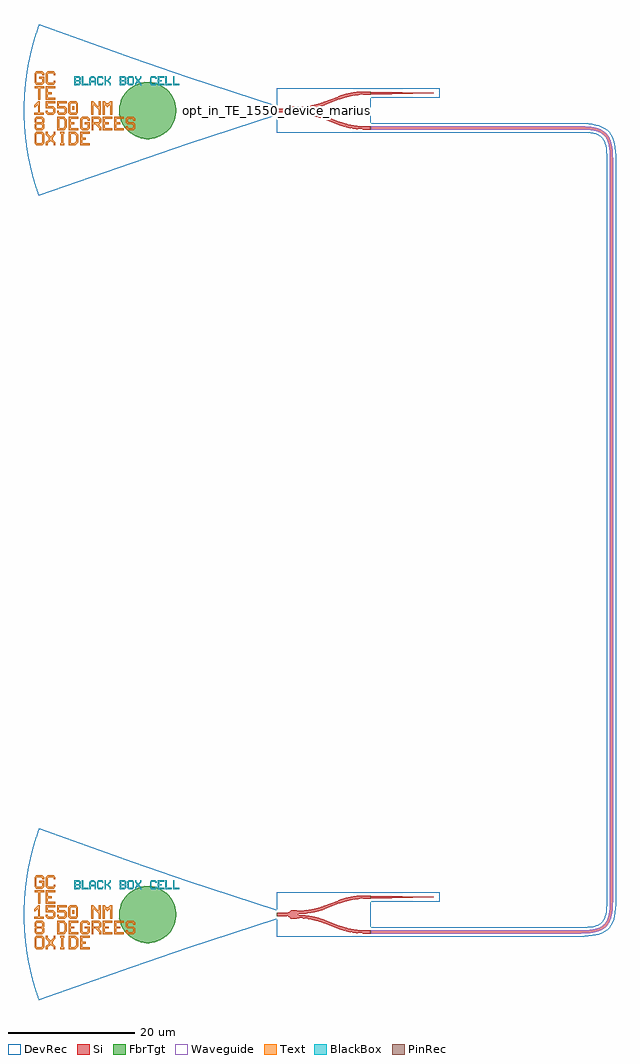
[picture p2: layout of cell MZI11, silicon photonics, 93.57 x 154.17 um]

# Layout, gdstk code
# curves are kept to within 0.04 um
from math import pi, radians
import gdstk
lib = gdstk.Library(unit=1e-6, precision=1e-09)
def R(c, l, rs):  # rectangles x0, y0, x1, y1
    for r in rs: c.add(gdstk.rectangle(r[:2], r[2:], *l))
def P(c, l, *ps):  # polygons
    for p in ps: c.add(gdstk.Polygon(p, *l))
Si = (1, 0)
PinRec = (1, 10)
Waveguide = (1, 99)
Text = (10, 0)
DevRec = (68, 0)
FbrTgt = (81, 0)
BlackBox = (998, 0)

text_1 = lib.new_cell('TEXT$1')
P(text_1, BlackBox, [(0,0),(0,1.4),(0.8,1.4),(1,1.2),(0.2,1.2),(0.2,0.8),(0.7,0.8),(0.8,0.9),(0.8,1.1),(0.7,1.2),(1,1.2),(1,0.8),(0.9,0.7),(1,0.6),(0.2,0.6),(0.2,0.2),(0.7,0.2),(0.8,0.3),(0.8,0.5),(0.7,0.6),(1,0.6),(1,0.2),(0.8,0)],
  [(1.2,0),(1.2,1.4),(1.4,1.4),(1.4,0.2),(2.2,0.2),(2.2,0)],
  [(2.4,0),(2.4,1.1),(2.7,1.4),(3.1,1.4),(3.3,1.2),(2.8,1.2),(2.6,1),(2.6,0.7),(3.2,0.7),(3.2,1),(3,1.2),(3.3,1.2),(3.4,1.1),(3.4,0),(3.2,0),(3.2,0.5),(2.6,0.5),(2.6,0)],
  [(3.8,0),(3.6,0.2),(3.6,1.2),(3.8,1.4),(4.4,1.4),(4.6,1.2),(4.6,1),(4.4,1),(4.4,1.1),(4.3,1.2),(3.9,1.2),(3.8,1.1),(3.8,0.3),(3.9,0.2),(4.3,0.2),(4.4,0.3),(4.4,0.4),(4.6,0.4),(4.6,0.2),(4.4,0)],
  [(4.8,0),(4.8,1.4),(5,1.4),(5,0.8),(5.2,0.8),(5.6,1.2),(5.6,1.4),(5.8,1.4),(5.8,1.1),(5.4,0.7),(5.8,0.3),(5.8,0),(5.6,0),(5.6,0.2),(5.2,0.6),(5,0.6),(5,0)],
  [(7.2,0),(7.2,1.4),(8,1.4),(8.2,1.2),(7.4,1.2),(7.4,0.8),(7.9,0.8),(8,0.9),(8,1.1),(7.9,1.2),(8.2,1.2),(8.2,0.8),(8.1,0.7),(8.2,0.6),(7.4,0.6),(7.4,0.2),(7.9,0.2),(8,0.3),(8,0.5),(7.9,0.6),(8.2,0.6),(8.2,0.2),(8,0)],
  [(8.6,0),(8.4,0.2),(8.4,1.2),(8.6,1.4),(9.2,1.4),(9.4,1.2),(9.4,0.7),(9.2,0.7),(9.2,1.1),(9.1,1.2),(8.7,1.2),(8.6,1.1),(8.6,0.3),(8.7,0.2),(9.1,0.2),(9.2,0.3),(9.2,0.7),(9.4,0.7),(9.4,0.2),(9.2,0)],
  [(9.6,0),(9.6,0.3),(9.9,0.6),(9.9,0.8),(9.6,1.1),(9.6,1.4),(9.8,1.4),(9.8,1.2),(10.1,0.9),(10.4,1.2),(10.4,1.4),(10.6,1.4),(10.6,1.1),(10.3,0.8),(10.3,0.6),(10.6,0.3),(10.6,0),(10.4,0),(10.4,0.2),(10.1,0.5),(9.8,0.2),(9.8,0)],
  [(12.2,0),(12,0.2),(12,1.2),(12.2,1.4),(12.8,1.4),(13,1.2),(13,1),(12.8,1),(12.8,1.1),(12.7,1.2),(12.3,1.2),(12.2,1.1),(12.2,0.3),(12.3,0.2),(12.7,0.2),(12.8,0.3),(12.8,0.4),(13,0.4),(13,0.2),(12.8,0)],
  [(13.2,0),(13.2,1.4),(14.2,1.4),(14.2,1.2),(13.4,1.2),(13.4,0.8),(13.8,0.8),(13.8,0.6),(13.4,0.6),(13.4,0.2),(14.2,0.2),(14.2,0)],
  [(14.4,0),(14.4,1.4),(14.6,1.4),(14.6,0.2),(15.4,0.2),(15.4,0)],
  [(15.6,0),(15.6,1.4),(15.8,1.4),(15.8,0.2),(16.6,0.2),(16.6,0)])

gc_te_1550_8degoxide_bb = lib.new_cell('GC_TE_1550_8degOxide_BB')
R(gc_te_1550_8degoxide_bb, Text, [(-32.313,0.092,-32.013,0.692)])
P(gc_te_1550_8degoxide_bb, Text, [(-37.67,1.71),(-37.67,3.51),(-38.27,3.51),(-38.27,3.81),(-36.77,3.81),(-36.77,3.51),(-37.37,3.51),(-37.37,1.71)],
  [(-37.97,-5.49),(-38.27,-5.19),(-38.27,-3.69),(-37.97,-3.39),(-37.07,-3.39),(-36.77,-3.69),(-36.77,-4.44),(-37.07,-4.44),(-37.07,-3.84),(-37.22,-3.69),(-37.82,-3.69),(-37.97,-3.84),(-37.97,-5.04),(-37.82,-5.19),(-37.22,-5.19),(-37.07,-5.04),(-37.07,-4.44),(-36.77,-4.44),(-36.77,-5.19),(-37.07,-5.49)],
  [(-31.07,-5.49),(-31.07,-3.39),(-29.57,-3.39),(-29.57,-3.69),(-30.77,-3.69),(-30.77,-4.29),(-30.17,-4.29),(-30.17,-4.59),(-30.77,-4.59),(-30.77,-5.19),(-29.57,-5.19),(-29.57,-5.49)],
  [(-32.87,-3.09),(-32.87,-0.99),(-31.37,-0.99),(-31.37,-1.29),(-32.57,-1.29),(-32.57,-1.89),(-31.97,-1.89),(-31.97,-2.19),(-32.57,-2.19),(-32.57,-2.79),(-31.37,-2.79),(-31.37,-3.09)],
  [(-27.47,-3.09),(-27.47,-0.99),(-25.97,-0.99),(-25.97,-1.29),(-27.17,-1.29),(-27.17,-1.89),(-26.57,-1.89),(-26.57,-2.19),(-27.17,-2.19),(-27.17,-2.79),(-25.97,-2.79),(-25.97,-3.09)],
  [(-25.67,-3.09),(-25.67,-0.99),(-24.17,-0.99),(-24.17,-1.29),(-25.37,-1.29),(-25.37,-1.89),(-24.77,-1.89),(-24.77,-2.19),(-25.37,-2.19),(-25.37,-2.79),(-24.17,-2.79),(-24.17,-3.09)],
  [(-36.47,1.71),(-36.47,3.81),(-34.97,3.81),(-34.97,3.51),(-36.17,3.51),(-36.17,2.91),(-35.57,2.91),(-35.57,2.61),(-36.17,2.61),(-36.17,2.01),(-34.97,2.01),(-34.97,1.71)],
  [(-29.313,-0.658),(-29.313,1.442),(-29.013,1.442),(-28.263,0.692),(-28.113,0.692),(-28.113,1.442),(-27.813,1.442),(-27.813,-0.658),(-28.113,-0.658),(-28.113,0.092),(-28.863,0.842),(-29.013,0.842),(-29.013,-0.658)],
  [(-34.22,-5.49),(-34.22,-5.19),(-34.07,-5.19),(-34.07,-3.69),(-34.22,-3.69),(-34.22,-3.39),(-33.62,-3.39),(-33.62,-3.69),(-33.77,-3.69),(-33.77,-5.19),(-33.62,-5.19),(-33.62,-5.49)],
  [(-36.17,4.11),(-36.47,4.41),(-36.47,5.91),(-36.17,6.21),(-35.27,6.21),(-34.97,5.91),(-34.97,5.61),(-35.27,5.61),(-35.27,5.76),(-35.42,5.91),(-36.02,5.91),(-36.17,5.76),(-36.17,4.56),(-36.02,4.41),(-35.42,4.41),(-35.27,4.56),(-35.27,4.71),(-34.97,4.71),(-34.97,4.41),(-35.27,4.11)],
  [(-27.513,-0.658),(-27.513,1.442),(-27.213,1.442),(-26.913,1.142),(-26.613,1.142),(-26.313,1.442),(-26.013,1.442),(-26.013,-0.658),(-26.313,-0.658),(-26.313,0.842),(-26.463,0.842),(-26.763,0.542),(-27.063,0.842),(-27.213,0.842),(-27.213,-0.658)],
  [(-32.613,-0.658),(-32.913,-0.358),(-32.913,1.142),(-32.613,1.442),(-31.713,1.442),(-31.413,1.142),(-32.463,1.142),(-32.613,0.992),(-32.613,-0.208),(-32.463,-0.358),(-31.863,-0.358),(-31.713,-0.208),(-31.713,0.992),(-31.863,1.142),(-31.413,1.142),(-31.413,-0.358),(-31.713,-0.658)],
  [(-32.87,-5.49),(-32.87,-3.39),(-31.82,-3.39),(-31.52,-3.69),(-32.57,-3.69),(-32.57,-5.19),(-31.97,-5.19),(-31.67,-4.89),(-31.67,-3.99),(-31.97,-3.69),(-31.52,-3.69),(-31.37,-3.84),(-31.37,-5.04),(-31.82,-5.49)],
  [(-34.67,-3.09),(-34.67,-0.99),(-33.62,-0.99),(-33.32,-1.29),(-34.37,-1.29),(-34.37,-2.79),(-33.77,-2.79),(-33.47,-2.49),(-33.47,-1.59),(-33.77,-1.29),(-33.32,-1.29),(-33.17,-1.44),(-33.17,-2.64),(-33.62,-3.09)],
  [(-23.57,-3.09),(-23.87,-2.79),(-23.87,-2.49),(-23.57,-2.49),(-23.57,-2.64),(-23.42,-2.79),(-22.82,-2.79),(-22.67,-2.64),(-22.67,-2.34),(-22.82,-2.19),(-23.57,-2.19),(-23.87,-1.89),(-23.87,-1.29),(-23.57,-0.99),(-22.67,-0.99),(-22.37,-1.29),(-22.37,-1.59),(-22.67,-1.59),(-22.67,-1.44),(-22.82,-1.29),(-23.42,-1.29),(-23.57,-1.44),(-23.57,-1.74),(-23.42,-1.89),(-22.67,-1.89),(-22.37,-2.19),(-22.37,-2.79),(-22.67,-3.09)],
  [(-36.213,-0.658),(-36.513,-0.358),(-36.513,-0.058),(-36.213,-0.058),(-36.213,-0.208),(-36.063,-0.358),(-35.463,-0.358),(-35.313,-0.208),(-35.313,0.242),(-35.463,0.392),(-36.513,0.392),(-36.513,1.442),(-35.013,1.442),(-35.013,1.142),(-36.213,1.142),(-36.213,0.692),(-35.313,0.692),(-35.013,0.392),(-35.013,-0.358),(-35.313,-0.658)],
  [(-34.413,-0.658),(-34.713,-0.358),(-34.713,-0.058),(-34.413,-0.058),(-34.413,-0.208),(-34.263,-0.358),(-33.663,-0.358),(-33.513,-0.208),(-33.513,0.242),(-33.663,0.392),(-34.713,0.392),(-34.713,1.442),(-33.213,1.442),(-33.213,1.142),(-34.413,1.142),(-34.413,0.692),(-33.513,0.692),(-33.213,0.392),(-33.213,-0.358),(-33.513,-0.658)],
  [(-37.97,-3.09),(-38.27,-2.79),(-38.27,-2.19),(-38.12,-2.04),(-38.27,-1.89),(-38.27,-1.29),(-37.97,-0.99),(-37.07,-0.99),(-36.77,-1.29),(-37.82,-1.29),(-37.97,-1.44),(-37.97,-1.74),(-37.82,-1.89),(-37.22,-1.89),(-37.07,-1.74),(-37.07,-1.44),(-37.22,-1.29),(-36.77,-1.29),(-36.77,-1.89),(-36.92,-2.04),(-36.77,-2.19),(-37.82,-2.19),(-37.97,-2.34),(-37.97,-2.64),(-37.82,-2.79),(-37.22,-2.79),(-37.07,-2.64),(-37.07,-2.34),(-37.22,-2.19),(-36.77,-2.19),(-36.77,-2.79),(-37.07,-3.09)],
  [(-38.313,-0.658),(-38.313,-0.358),(-37.713,-0.358),(-37.713,0.842),(-37.863,0.842),(-38.163,0.542),(-38.313,0.542),(-38.313,0.842),(-37.713,1.442),(-37.413,1.442),(-37.413,-0.358),(-36.813,-0.358),(-36.813,-0.658)],
  [(-36.47,-5.49),(-36.47,-5.04),(-36.02,-4.59),(-36.02,-4.29),(-36.47,-3.84),(-36.47,-3.39),(-36.17,-3.39),(-36.17,-3.69),(-35.72,-4.14),(-35.27,-3.69),(-35.27,-3.39),(-34.97,-3.39),(-34.97,-3.84),(-35.42,-4.29),(-35.42,-4.59),(-34.97,-5.04),(-34.97,-5.49),(-35.27,-5.49),(-35.27,-5.19),(-35.72,-4.74),(-36.17,-5.19),(-36.17,-5.49)],
  [(-30.77,-3.09),(-31.07,-2.79),(-31.07,-1.29),(-30.77,-0.99),(-29.87,-0.99),(-29.57,-1.29),(-29.57,-1.59),(-29.87,-1.59),(-29.87,-1.44),(-30.02,-1.29),(-30.62,-1.29),(-30.77,-1.44),(-30.77,-2.64),(-30.62,-2.79),(-30.02,-2.79),(-29.87,-2.64),(-29.87,-2.19),(-30.32,-2.19),(-30.32,-1.89),(-29.57,-1.89),(-29.57,-2.79),(-29.87,-3.09)],
  [(-37.97,4.11),(-38.27,4.41),(-38.27,5.91),(-37.97,6.21),(-37.07,6.21),(-36.77,5.91),(-36.77,5.61),(-37.07,5.61),(-37.07,5.76),(-37.22,5.91),(-37.82,5.91),(-37.97,5.76),(-37.97,4.56),(-37.82,4.41),(-37.22,4.41),(-37.07,4.56),(-37.07,5.01),(-37.52,5.01),(-37.52,5.31),(-36.77,5.31),(-36.77,4.41),(-37.07,4.11)],
  [(-29.27,-3.09),(-29.27,-0.99),(-28.07,-0.99),(-27.77,-1.29),(-28.97,-1.29),(-28.97,-1.89),(-28.22,-1.89),(-28.07,-1.74),(-28.07,-1.44),(-28.22,-1.29),(-27.77,-1.29),(-27.77,-1.89),(-28.07,-2.19),(-28.07,-2.34),(-27.77,-2.64),(-27.77,-3.09),(-28.07,-3.09),(-28.07,-2.79),(-28.67,-2.19),(-28.97,-2.19),(-28.97,-3.09)])
P(gc_te_1550_8degoxide_bb, DevRec, [(-37.607,-13.5),(-38.627,-10.245),(-39.378,-6.832),(-39.647,-5.058),(-39.835,-3.274),(-39.969,0.224),(-39.812,3.541),(-39.331,7.097),(-38.557,10.505),(-37.546,13.669),(-22.8,8.353),(-14.109,5.36),(0,0.75),(0,-0.75),(-14.109,-5.36)])
P(gc_te_1550_8degoxide_bb, FbrTgt, [(-20.621,-4.5),(-21.495,-4.37),(-22.326,-4.073),(-23.084,-3.619),(-23.738,-3.026),(-24.264,-2.316),(-24.642,-1.518),(-24.857,-0.661),(-24.9,0.221),(-24.77,1.095),(-24.473,1.926),(-24.019,2.684),(-23.426,3.338),(-22.716,3.864),(-21.918,4.242),(-21.061,4.457),(-20.179,4.5),(-19.305,4.37),(-18.474,4.073),(-17.716,3.619),(-17.062,3.026),(-16.536,2.316),(-16.158,1.518),(-15.943,0.661),(-15.9,-0.221),(-16.03,-1.095),(-16.327,-1.926),(-16.781,-2.684),(-17.374,-3.338),(-18.084,-3.864),(-18.882,-4.242),(-19.739,-4.457)])
gc_te_1550_8degoxide_bb.add(gdstk.FlexPath([(-0.01,0),(0.01,0)], 0.5, ends="flush", simple_path=True, layer=1, datatype=10))  # PinRec
gc_te_1550_8degoxide_bb.add(gdstk.Reference(text_1, (-32,4)))
gc_te_1550_8degoxide_bb.add(gdstk.Label('opt1', (0,0), layer=1, texttype=10))
gc_te_1550_8degoxide_bb.add(gdstk.Label('Component=GC_TE_1550_8degOxide_BB', (-28,-5), layer=68, texttype=0))

ebeam_y_1550 = lib.new_cell('ebeam_y_1550')
R(ebeam_y_1550, Si, [(6.5,-3,7.4,-2.5), (-7.4,-0.25,-6,0.25), (6.5,2.5,7.4,3)])
P(ebeam_y_1550, Si, [(6.458,-3),(6.237,-2.997),(6.237,-2.497),(6.5,-2.5),(6.5,-3)],
  [(5.033,-2.908),(3.59,-2.634),(2.265,-2.21),(2.445,-1.744),(3.731,-2.154),(5.033,-2.404)],
  [(6.233,-2.997),(5.033,-2.908),(5.033,-2.404),(6.237,-2.497)],
  [(2.265,-2.21),(0.055,-1.356),(0.235,-0.89),(2.445,-1.744)],
  [(-0.762,-1.076),(-2.334,-0.724),(-4,-0.6),(-4,-0.1),(-2.381,-0.212),(-0.762,-0.555)],
  [(0.055,-1.356),(-0.762,-1.076),(-0.762,-0.555),(0.235,-0.89)],
  [(6.237,2.497),(6.237,2.997),(6.5,3),(6.5,2.5)],
  [(2.445,1.744),(2.267,2.211),(3.59,2.634),(5.033,2.908),(5.033,2.404),(3.731,2.154)],
  [(5.033,2.404),(5.033,2.908),(6.237,2.997),(6.237,2.497)],
  [(0.235,0.89),(0.055,1.356),(2.265,2.21),(2.445,1.744)],
  [(-4,0.1),(-4,0.6),(-2.334,0.724),(-0.762,1.076),(-0.762,0.555),(-2.381,0.212)],
  [(-0.762,0.555),(-0.762,1.076),(0.055,1.356),(0.235,0.89)],
  [(-5.122,-0.662),(-5.442,-0.374),(-5.808,-0.255),(-6,-0.25),(-6,0.25),(-5.817,0.253),(-5.442,0.374),(-5.122,0.662)],
  [(-4.957,-0.703),(-5.122,-0.662),(-5.122,0.662),(-4.538,0.703),(-4,0.6),(-4,-0.6),(-4.509,-0.701)])
R(ebeam_y_1550, DevRec, [(-7.4,-3.5,7.4,3.5)])
ebeam_y_1550.add(gdstk.FlexPath([(-7.35,0),(-7.45,0)], 0.5, ends="flush", simple_path=True, layer=1, datatype=10))  # PinRec
ebeam_y_1550.add(gdstk.FlexPath([(7.35,2.75),(7.45,2.75)], 0.5, ends="flush", simple_path=True, layer=1, datatype=10))  # PinRec
ebeam_y_1550.add(gdstk.FlexPath([(7.35,-2.75),(7.45,-2.75)], 0.5, ends="flush", simple_path=True, layer=1, datatype=10))  # PinRec
ebeam_y_1550.add(gdstk.Label('opt2', (7.4,2.75), layer=1, texttype=10))
ebeam_y_1550.add(gdstk.Label('opt3', (7.4,-2.75), layer=1, texttype=10))
ebeam_y_1550.add(gdstk.Label('opt1', (-7.4,0), layer=1, texttype=10))
ebeam_y_1550.add(gdstk.Label('Component=ebeam_y_1550', (-6,1.5), layer=68, texttype=0))
ebeam_y_1550.add(gdstk.Label('Lumerical_INTERCONNECT_library=Design kits/ebeam', (-6.86,-2.19), layer=68, texttype=0))
ebeam_y_1550.add(gdstk.Label('Ref: Y Zhang, Opt. Express, 21/1, 2013', (-7.5,-1), layer=10, texttype=0))

ebeam_terminator_tm1550 = lib.new_cell('ebeam_terminator_tm1550')
P(ebeam_terminator_tm1550, Si, [(0,-0.25),(-10,-0.03),(-10,0.03),(0,0.25)])
R(ebeam_terminator_tm1550, DevRec, [(-10.9,-0.75,0,0.75)])
ebeam_terminator_tm1550.add(gdstk.FlexPath([(-0.05,0),(0.05,0)], 0.5, ends="flush", simple_path=True, layer=1, datatype=10))  # PinRec
ebeam_terminator_tm1550.add(gdstk.Label('opt1', (0,0), layer=1, texttype=10))
ebeam_terminator_tm1550.add(gdstk.Label('Lumerical_INTERCONNECT_library=Design kits/ebeam', (-10,-0.5), layer=68, texttype=0))
ebeam_terminator_tm1550.add(gdstk.Label('Component=ebeam_terminator_tm1550', (-10,0), layer=68, texttype=0))
ebeam_terminator_tm1550.add(gdstk.Label('S11 of -27 dB with perpendicular waveguide 1 micron away', (-10,0.5), layer=10, texttype=0))

waveguide_16 = lib.new_cell('Waveguide$16')
P(waveguide_16, Si, [(54.769,10.5),(54.769,11),(89.028,11.039),(90.301,11.229),(90.915,11.437),(91.315,11.657),(91.644,11.927),(91.915,12.257),(92.307,13.138),(92.518,14.365),(92.571,15.75),(92.571,132.75),(92.517,134.136),(92.306,135.363),(91.914,136.244),(91.567,136.647),(91.221,136.903),(90.3,137.272),(88.842,137.473),(54.769,137.5),(54.769,138),(88.042,137.999),(89.434,137.927),(90.571,137.716),(91.118,137.52),(91.701,137.183),(92.087,136.833),(92.468,136.294),(92.696,135.783),(92.895,135.043),(93.015,134.182),(93.066,133.188),(93.071,15.75),(92.998,14.137),(92.787,13),(92.591,12.453),(92.254,11.87),(91.904,11.484),(91.482,11.17),(90.989,10.926),(90.425,10.745),(88.871,10.528)])
P(waveguide_16, Waveguide, [(54.769,10.5),(54.769,11),(89.028,11.039),(90.301,11.229),(90.915,11.437),(91.315,11.657),(91.644,11.927),(91.915,12.257),(92.307,13.138),(92.518,14.365),(92.571,15.75),(92.571,132.75),(92.517,134.136),(92.306,135.363),(91.914,136.244),(91.567,136.647),(91.221,136.903),(90.3,137.272),(88.842,137.473),(54.769,137.5),(54.769,138),(88.042,137.999),(89.434,137.927),(90.571,137.716),(91.118,137.52),(91.701,137.183),(92.087,136.833),(92.468,136.294),(92.696,135.783),(92.895,135.043),(93.015,134.182),(93.066,133.188),(93.071,15.75),(92.998,14.137),(92.787,13),(92.591,12.453),(92.254,11.87),(91.904,11.484),(91.482,11.17),(90.989,10.926),(90.425,10.745),(88.871,10.528)])
P(waveguide_16, DevRec, [(54.769,10),(54.769,11.5),(87.821,11.5),(89.566,11.598),(90.717,11.896),(91.197,12.193),(91.536,12.592),(91.796,13.175),(91.974,14.006),(92.071,15.75),(92.071,132.75),(91.973,134.495),(91.795,135.326),(91.675,135.646),(91.378,136.126),(91.196,136.308),(90.716,136.605),(89.565,136.903),(88.47,136.99),(54.769,137),(54.769,138.5),(87.821,138.5),(89.773,138.389),(90.848,138.155),(91.771,137.739),(92.17,137.448),(92.809,136.701),(93.043,136.26),(93.361,135.26),(93.56,133.452),(93.571,15.75),(93.46,13.798),(93.226,12.723),(92.81,11.8),(92.519,11.401),(91.772,10.762),(90.849,10.346),(90.331,10.21),(89.172,10.047),(87.834,10)])
waveguide_16.add(gdstk.FlexPath([(54.779,137.75),(54.759,137.75)], 0.5, ends="flush", simple_path=True, layer=1, datatype=10))  # PinRec
waveguide_16.add(gdstk.FlexPath([(54.779,10.75),(54.759,10.75)], 0.5, ends="flush", simple_path=True, layer=1, datatype=10))  # PinRec
waveguide_16.add(gdstk.Label('opt1', (54.769,137.75), layer=1, texttype=10))
waveguide_16.add(gdstk.Label('opt2', (54.769,10.75), layer=1, texttype=10))
waveguide_16.add(gdstk.Label('Lumerical_INTERCONNECT_library=Design kits/EBeam', (54.769,137.65), layer=68, texttype=0))
waveguide_16.add(gdstk.Label('Component=ebeam_wg_integral_1550', (54.769,137.85), layer=68, texttype=0))
waveguide_16.add(gdstk.Label('cellName=Waveguide', (54.769,137.95), layer=68, texttype=0))
waveguide_16.add(gdstk.Label('Spice_param:wg_length=0.000200001 wg_width=5e-07 points="[[54.769,137.75],[92.821,137.75],[92.821,10.75],[54.769,10.75]]" radius=5e-06', (54.769,137.75), layer=68, texttype=0))
waveguide_16.add(gdstk.Label('Length=200.001 (microns)', (54.769,137.15), layer=68, texttype=0))
waveguide_16.add(gdstk.Label('waveguide_type=Strip TE 1550 nm, w=500 nm', (54.769,137.55), layer=68, texttype=0))

mzi11 = lib.new_cell('MZI11')
mzi11.add(gdstk.Reference(gc_te_1550_8degoxide_bb, (39.969,13.5)))
mzi11.add(gdstk.Reference(gc_te_1550_8degoxide_bb, (39.969,140.5)))
mzi11.add(gdstk.Reference(ebeam_y_1550, (47.369,140.5)))
mzi11.add(gdstk.Reference(ebeam_y_1550, (47.369,13.5)))
mzi11.add(gdstk.Reference(ebeam_terminator_tm1550, (54.769,143.25), rotation=pi))
mzi11.add(gdstk.Reference(ebeam_terminator_tm1550, (54.769,16.25), rotation=pi))
mzi11.add(gdstk.Reference(waveguide_16, (0,0)))
mzi11.add(gdstk.Label('opt_in_TE_1550_device_mariusminnen_MZI11', (39.959,140.5), layer=10, texttype=0))

lib.write_gds('MZI11.gds')
